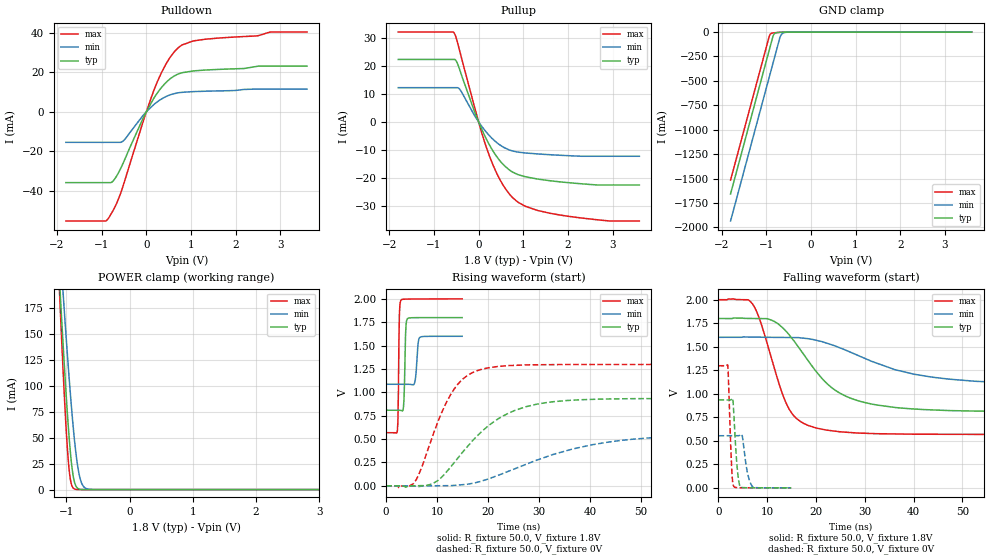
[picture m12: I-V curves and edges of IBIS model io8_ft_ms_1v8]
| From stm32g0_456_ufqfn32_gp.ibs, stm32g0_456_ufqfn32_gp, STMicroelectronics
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[Model]   io8_ft_ms_1v8
Model_type I/O
Polarity   Non-Inverting
Enable   Active-Low
| CAP_THRESHOLD on pad IOFT is "UDTCAPC" :
| Rising=30.00f vddiom   Falling=70.00f vddiom
| C_comp min and max val. don't necessarily correlate with the min and max pvt
| but are the smallest and greatest pad capacitance found.
| var   typ   min   max
C_comp   2.04479pF  2.03950pF  2.10328pF
|C_comp_pullup   1.14453pF  1.14099pF  1.14605pF
|C_comp_pulldown   900.25992fF  898.51017fF  957.23003fF
Vinl = 480.0mV
Vinh = 1.4V
Vmeas = 900.0mV   | Reference voltage for timing measurements
Cref  = 50.0pF   | Timing specification test load capacitance value
Rref  = 100.0MOhm   | Timing specification test load resistance value
Vref  = 900.0mV   | Timing specification test load voltage
[Model Spec]
| TIME_THRESHOLD on pin ZIV12 is "CMOS" :
| Rising=50.00f vdd   Falling=50.00f vdd
Vinl 728.70000mV 655.70000mV 817.70000mV
Vinh 1.06430V 949.30000mV 1.16330V
| variable   typ   min   max
[Temperature Range] 25.0 140.0 -40.0
| variable   typ   min   max
[Voltage Range] 1.8V 1.6V 2.0V
| variable   typ   min   max
[POWER Clamp Reference] 1.8V 1.6V 2.0V
| variable   typ   min   max
[GND Clamp Reference] 0V 0V 0V
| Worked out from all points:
|   slope of the pulldown table from 0 to 0.27 V, typ, clamps not added: 26.3 ohm
|   slope of the pullup table from 0 to 0.27 V, typ, clamps not added: 30 ohm
|   GND clamp passes 1 mA (typ) near -0.61 V on its own axis
|   POWER clamp passes 1 mA (typ) near -0.81 V on its own axis
|   rising waveform, R_fixture 50.0, V_fixture 1.8V: 20-80 % time 252ps typ, 396ps min, 202ps max; typ from 0.809 V to 1.8 V
|   falling waveform, R_fixture 50.0, V_fixture 1.8V: 20-80 % time 10ns typ, 17.9ns min, 5.36ns max; typ from 1.8 V to 0.809 V
|   rising waveform, R_fixture 50.0, V_fixture 0V: 20-80 % time 10.5ns typ, 18.9ns min, 6ns max; typ from 0 V to 0.935 V
|   falling waveform, R_fixture 50.0, V_fixture 0V: 20-80 % time 694ps typ, 1.02ns min, 534ps max; typ from 0.935 V to 0 V
[POWER Clamp]
-1.8V     1.053A     943.1mA    1.262A
-1.11V    202.2mA    242.3mA    190.9mA
-1.09V    180mA      223.6mA    163.4mA
-1.05V    136.9mA    187mA      110.9mA
-980mV    68.91mA    126.1mA    35.23mA
-940mV    37.57mA    94.11mA    10.65mA
-880mV    8.969mA    52.17mA    807.4uA
-830mV    1.697mA    25.82mA    75.79uA
-790mV    394.2uA    12.22mA    11.25uA
-740mV    61.25uA    3.879mA    1.034uA
-660mV    3.073uA    483.4uA    22.7nA
3.6V      0A         0A         0A
[GND Clamp]
-1.8V     -1.658A    -1.935A    -1.517A
-930mV    -179mA     -456mA     -38.91mA
-900mV    -128mA     -405mA     -17.65mA
-850mV    -44.09mA   -320mA     -9.519mA
-830mV    -24.74mA   -286mA     -8.302mA
-790mV    -9.695mA   -218mA     -6.49mA
-700mV    -2.938mA   -65mA      -3.294mA
-670mV    -2.157mA   -31.85mA   -2.435mA
-640mV    -1.545mA   -16.21mA   -1.699mA
-570mV    -571.9uA   -3.807mA   -536.5uA
-420mV    -14.26uA   -143.3uA   -5.434uA
3.6V      450.9pA    102.5nA    318pA
| variable   typ   min   max
[Pullup Reference] 1.8V 1.6V 2.0V
| variable   typ   min   max
[Pulldown Reference] 0V 0V 0V
[Pullup]
-1.8V     22.25mA    12.18mA    32.02mA
-550mV    22.25mA    12.18mA    31.76mA
-500mV    21.67mA    12.18mA    29.82mA
-420mV    18.45mA    11.57mA    25.1mA
-90mV     3.62mA     2.224mA    5.223mA
240mV     -8.143mA   -4.875mA   -12mA
540mV     -15mA      -8.867mA   -22.31mA
870mV     -18.72mA   -10.75mA   -28.48mA
1.33V     -20.4mA    -11.44mA   -31.6mA
1.9V      -21.5mA    -11.96mA   -33.39mA
2.94V     -22.49mA   -12.26mA   -35.33mA
3.6V      -22.49mA   -12.26mA   -35.33mA
[Pulldown]
-1.8V     -35.76mA   -15.41mA   -55.17mA
-910mV    -35.76mA   -15.41mA   -55.17mA
-830mV    -35.76mA   -15.41mA   -53.18mA
-710mV    -34mA      -15.41mA   -48.42mA
-520mV    -26.05mA   -14.75mA   -37.5mA
-90mV     -4.145mA   -2.306mA   -6.327mA
230mV     8.974mA    4.797mA    14.24mA
490mV     15.87mA    8.223mA    26.01mA
750mV     19.43mA    9.743mA    33.01mA
1.33V     21.16mA    10.45mA    36.75mA
2.78V     23.13mA    11.52mA    40.36mA
3.6V      23.13mA    11.52mA    40.37mA
[Ramp]
dV/dt_r 560.73079mV/10.49967ns 332.41132mV/18.91227ns 778.78265mV/5.99872ns
dV/dt_f 594.84345mV/10.00321ns 308.28301mV/17.87518ns 859.13303mV/5.36336ns
R_load = 50.0
| Removed startup time: 0s 0s 0s  .
| Removed end time: 14.9ns.
[Rising Waveform]
R_fixture   = 50.0
V_fixture   = 1.8V
V_fixture_min = 1.6V
V_fixture_max = 2.0V
0s        808.6mV    1.086V     568.1mV
2.2ns     808.7mV    1.086V     590.9mV
2.6ns     808.5mV    1.086V     1.844V
2.9ns     806.3mV    1.086V     1.985V
3.4ns     844.8mV    1.086V     1.996V
3.8ns     1.615V     1.086V     1.997V
4.1ns     1.781V     1.086V     1.998V
5.6ns     1.799V     1.104V     1.998V
6.6ns     1.799V     1.588V     1.998V
14.9ns    1.799V     1.6V       2V
| Removed startup time: 0s 0s 0s  .
| Removed end time: 199.9ns.
[Falling Waveform]
R_fixture   = 50.0
V_fixture   = 1.8V
V_fixture_min = 1.6V
V_fixture_max = 2.0V
0s        1.8V       1.6V       2V
6.9ns     1.8V       1.603V     1.96V
8.4ns     1.8V       1.601V     1.797V
11ns      1.78V      1.6V       1.352V
14.5ns    1.626V     1.6V       835.8mV
17.2ns    1.438V     1.592V     692.8mV
21.9ns    1.126V     1.543V     615.5mV
31.6ns    888.8mV    1.341V     577.2mV
52.6ns    816.1mV    1.133V     568.3mV
199.9ns   808.6mV    1.086V     568.1mV
| Removed startup time: 0s 0s 0s  .
| Removed end time: 199.9ns.
[Rising Waveform]
R_fixture   = 50.0
V_fixture   = 0V
V_fixture_min = 0V
V_fixture_max = 0V
0s        -16.13uV   -14.82uV   -10.78uV
5.3ns     -505.6uV   -209.3uV   21.35mV
6.7ns     -11.57uV   -4.395mV   160.4mV
9.2ns     24.83mV    -206.2uV   547.1mV
13.4ns    252.1mV    4.694mV    1.04V
16.7ns    468.5mV    23.45mV    1.205V
21.7ns    707.5mV    106.6mV    1.276V
31.7ns    892.5mV    315.7mV    1.296V
55.5ns    933.8mV    525.8mV    1.298V
199.9ns   934.6mV    554mV      1.298V
| Removed startup time: 0s 0s 0s  .
| Removed end time: 14.9ns.
[Falling Waveform]
R_fixture   = 50.0
V_fixture   = 0V
V_fixture_min = 0V
V_fixture_max = 0V
0s        934.6mV    554mV      1.298V
1.9ns     934.6mV    554mV      1.303V
2.7ns     941.8mV    554mV      215mV
3.1ns     832.5mV    554mV      17.99mV
3.8ns     233.2mV    553.6mV    2.473mV
4.5ns     9.753mV    562.9mV    1.587mV
4.9ns     3.126mV    544.2mV    1.418mV
6ns       1.064mV    146.3mV    1.163mV
6.9ns     798.5uV    16.14mV    1.072mV
14.9ns    352.5uV    295.5uV    166.8uV
